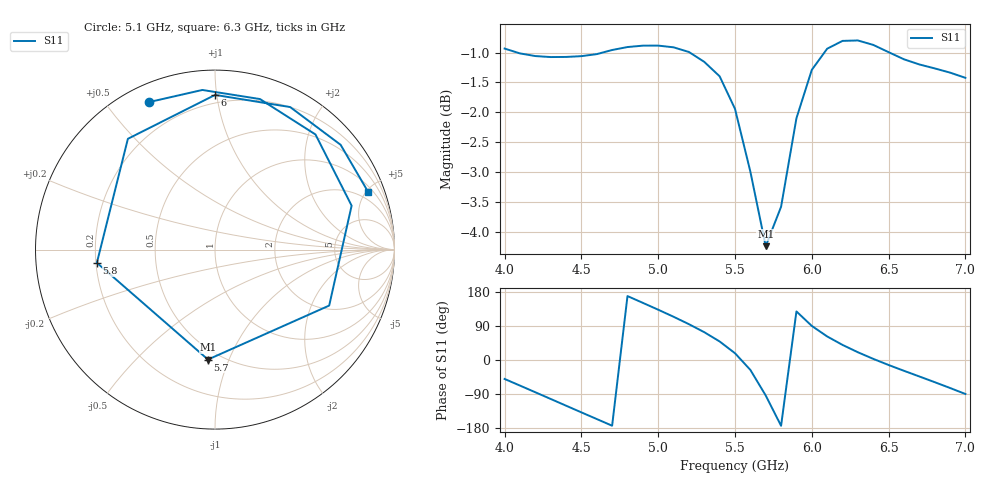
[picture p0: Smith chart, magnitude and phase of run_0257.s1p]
! Touchstone file exported from HFSS 2024.2.0
!  File:  C:/Users/wsak9/Desktop/Sim Fast/Widenad Patch/WP_AI_V1_sweep.aedt
!  Generated:  01:49:36 AM Oct 14, 2026
!  Design:  A1_model
!  Project:  WP_AI_V1_sweep
!  Setup:  Setup1
!  Solution:  Sweep
! Variables:
!  Air_gap = 4.61mm
!  Curve_Amp1 = 1.41
!  Curve_len1 = 1
!  Curve_pos = 10.705mm
!  Extra = 5.51mm
!  H_sub = 0.79mm
!  L_Patch = 17.41mm
!  L_Patch1 = 21.33mm
!  Sx = 1.63mm
!  Sy = 2.07mm
!  WS = 1.26mm
!  W_Patch = 20.44mm
!  W_Patch1 = 15.82mm
!Data is not renormalized
# GHz S MA
! Terminal data exported
! Port[1] = 1
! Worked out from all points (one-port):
!   31 points, 4 GHz to 7 GHz, reference per port
!   lowest |S11| = -4.2 dB at 5.7 GHz (marker M1), VSWR 4.18
!   |S11| at or under -10 dB: nowhere
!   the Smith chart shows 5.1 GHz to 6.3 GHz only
!   S11 on the Smith chart (normalised r, x): 5.1 GHz: 0.07, +0.65; 5.7 GHz: 0.43, -0.84; 5.8 GHz: 0.20, -0.05; 6 GHz: 0.15, +0.99; 6.3 GHz: 1.37, +5.19
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4  0.8981 -50.0
4.1  0.8897 -67.5
4.2  0.8852 -85.1
4.3  0.8835 -102.8
4.4  0.8837 -120.5
4.6  0.8885 -155.8
4.7  0.8956 -173.4
4.8  0.9007 168.7
4.9  0.9032 150.8
5  0.9033 132.7
5.1  0.9002 114.1
5.2  0.8922 94.5
5.3  0.8754 73.4
5.4  0.8514 48.9
5.5  0.7996 17.8
5.6  0.7085 -26.1
5.7  0.6137 -93.7
5.8  0.6621 -173.6
5.9  0.7852 128.2
6  0.8619 90.0
6.1  0.8978 62.2
6.2  0.9115 39.8
6.3  0.9122 20.5
6.4  0.9044 3.0
6.5  0.8919 -13.2
6.7  0.871 -43.4
6.9  0.8574 -73.9
7  0.8489 -89.7
